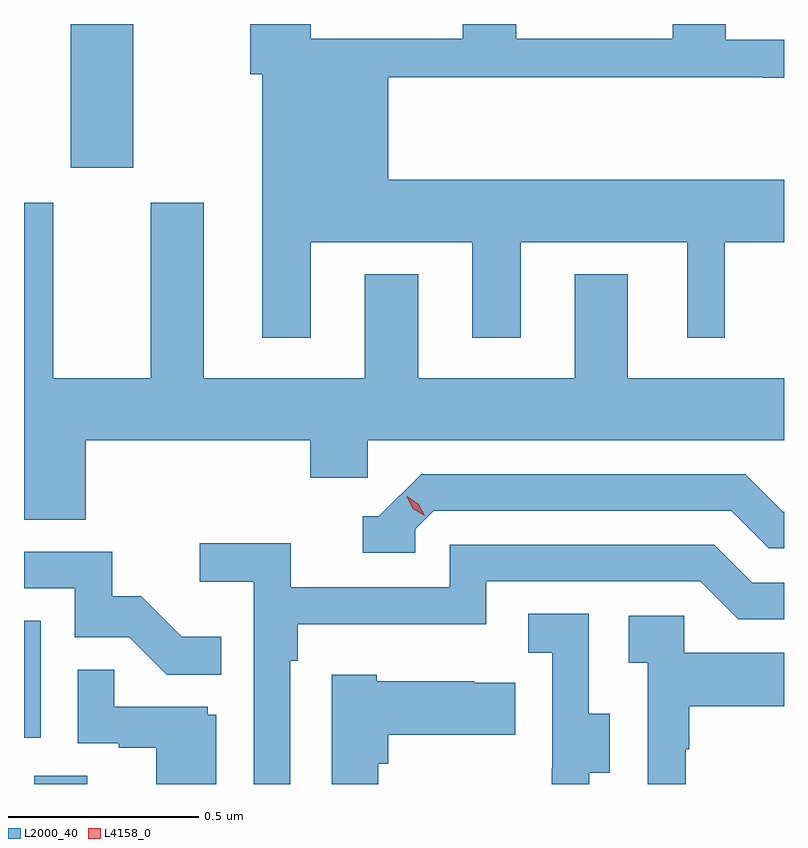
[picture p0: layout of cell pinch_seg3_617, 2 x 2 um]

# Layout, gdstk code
import gdstk
lib = gdstk.Library(unit=1e-6, precision=1e-09)
def R(c, l, rs):  # rectangles x0, y0, x1, y1
    for r in rs: c.add(gdstk.rectangle(r[:2], r[2:], *l))
def P(c, l, *ps):  # polygons
    for p in ps: c.add(gdstk.Polygon(p, *l))
L2000_40 = (2000, 40)
L4158_0 = (4158, 0)

pinch_seg3_617 = lib.new_cell('pinch_seg3_617')
R(pinch_seg3_617, L2000_40, [(1041.035,705.34,1041.175,705.362), (1041.008,705.462,1041.052,705.769), (1041.131,706.962,1041.295,707.34)])
P(pinch_seg3_617, L2000_40, [(1041.763,706.766),(1042.187,706.766),(1042.187,706.515),(1042.315,706.515),(1042.315,706.766),(1042.754,706.766),(1042.754,706.515),(1042.852,706.515),(1042.852,706.766),(1043.008,706.766),(1043.008,706.93),(1041.967,706.93),(1041.967,707.2),(1042.951,707.2),(1042.951,707.198),(1043.008,707.198),(1043.008,707.298),(1042.855,707.298),(1042.855,707.34),(1042.715,707.34),(1042.715,707.301),(1042.303,707.301),(1042.303,707.34),(1042.163,707.34),(1042.163,707.301),(1041.763,707.301),(1041.763,707.34),(1041.603,707.34),(1041.603,707.208),(1041.635,707.208),(1041.635,706.515),(1041.763,706.515)],
  [(1041.17,706.244),(1041.761,706.244),(1041.761,706.146),(1041.912,706.146),(1041.912,706.244),(1043.008,706.244),(1043.008,706.408),(1042.597,706.408),(1042.597,706.681),(1042.457,706.681),(1042.457,706.408),(1042.045,706.408),(1042.045,706.681),(1041.905,706.681),(1041.905,706.408),(1041.481,706.408),(1041.481,706.87),(1041.341,706.87),(1041.341,706.408),(1041.085,706.408),(1041.085,706.87),(1041.008,706.87),(1041.008,706.036),(1041.17,706.036)],
  [(1042.038,706.011),(1042.086,706.059),(1042.869,706.059),(1042.968,705.96),(1043.008,705.96),(1043.008,706.056),(1043.005,706.056),(1042.906,706.155),(1042.053,706.155),(1041.942,706.044),(1041.899,706.044),(1041.899,705.948),(1042.038,705.948)],
  [(1041.708,705.665),(1041.728,705.665),(1041.728,705.761),(1042.224,705.761),(1042.224,705.873),(1042.788,705.873),(1042.887,705.774),(1043.008,705.774),(1043.008,705.87),(1042.924,705.87),(1042.825,705.969),(1042.128,705.969),(1042.128,705.858),(1041.71,705.858),(1041.71,705.974),(1041.471,705.974),(1041.471,705.872),(1041.612,705.872),(1041.612,705.34),(1041.708,705.34)],
  [(1041.527,705.727),(1041.423,705.727),(1041.316,705.834),(1041.24,705.834),(1041.24,705.951),(1041.008,705.951),(1041.008,705.855),(1041.141,705.855),(1041.141,705.726),(1041.285,705.726),(1041.383,705.628),(1041.527,705.628)],
  [(1042.495,705.37),(1042.549,705.37),(1042.549,705.525),(1042.494,705.525),(1042.494,705.788),(1042.335,705.788),(1042.335,705.685),(1042.398,705.685),(1042.398,705.381),(1042.397,705.381),(1042.397,705.34),(1042.495,705.34)],
  [(1042.749,705.431),(1042.759,705.431),(1042.759,705.545),(1043.008,705.545),(1043.008,705.685),(1042.746,705.685),(1042.746,705.783),(1042.599,705.783),(1042.599,705.659),(1042.65,705.659),(1042.65,705.34),(1042.749,705.34)],
  [(1041.514,705.522),(1041.492,705.522),(1041.492,705.543),(1041.245,705.543),(1041.245,705.641),(1041.15,705.641),(1041.15,705.447),(1041.257,705.447),(1041.257,705.435),(1041.356,705.435),(1041.356,705.34),(1041.514,705.34)],
  [(1041.94,705.393),(1041.966,705.393),(1041.966,705.47),(1042.301,705.47),(1042.301,705.607),(1042.193,705.607),(1042.193,705.61),(1041.936,705.61),(1041.936,705.628),(1041.818,705.628),(1041.818,705.34),(1041.94,705.34)])
P(pinch_seg3_617, L4158_0, [(1042.062,706.046),(1042.031,706.065),(1042.015,706.097),(1042.015,706.097),(1042.015,706.097),(1042.046,706.078),(1042.062,706.046),(1042.062,706.046)])

lib.write_gds('pinch_seg3_617.gds')
